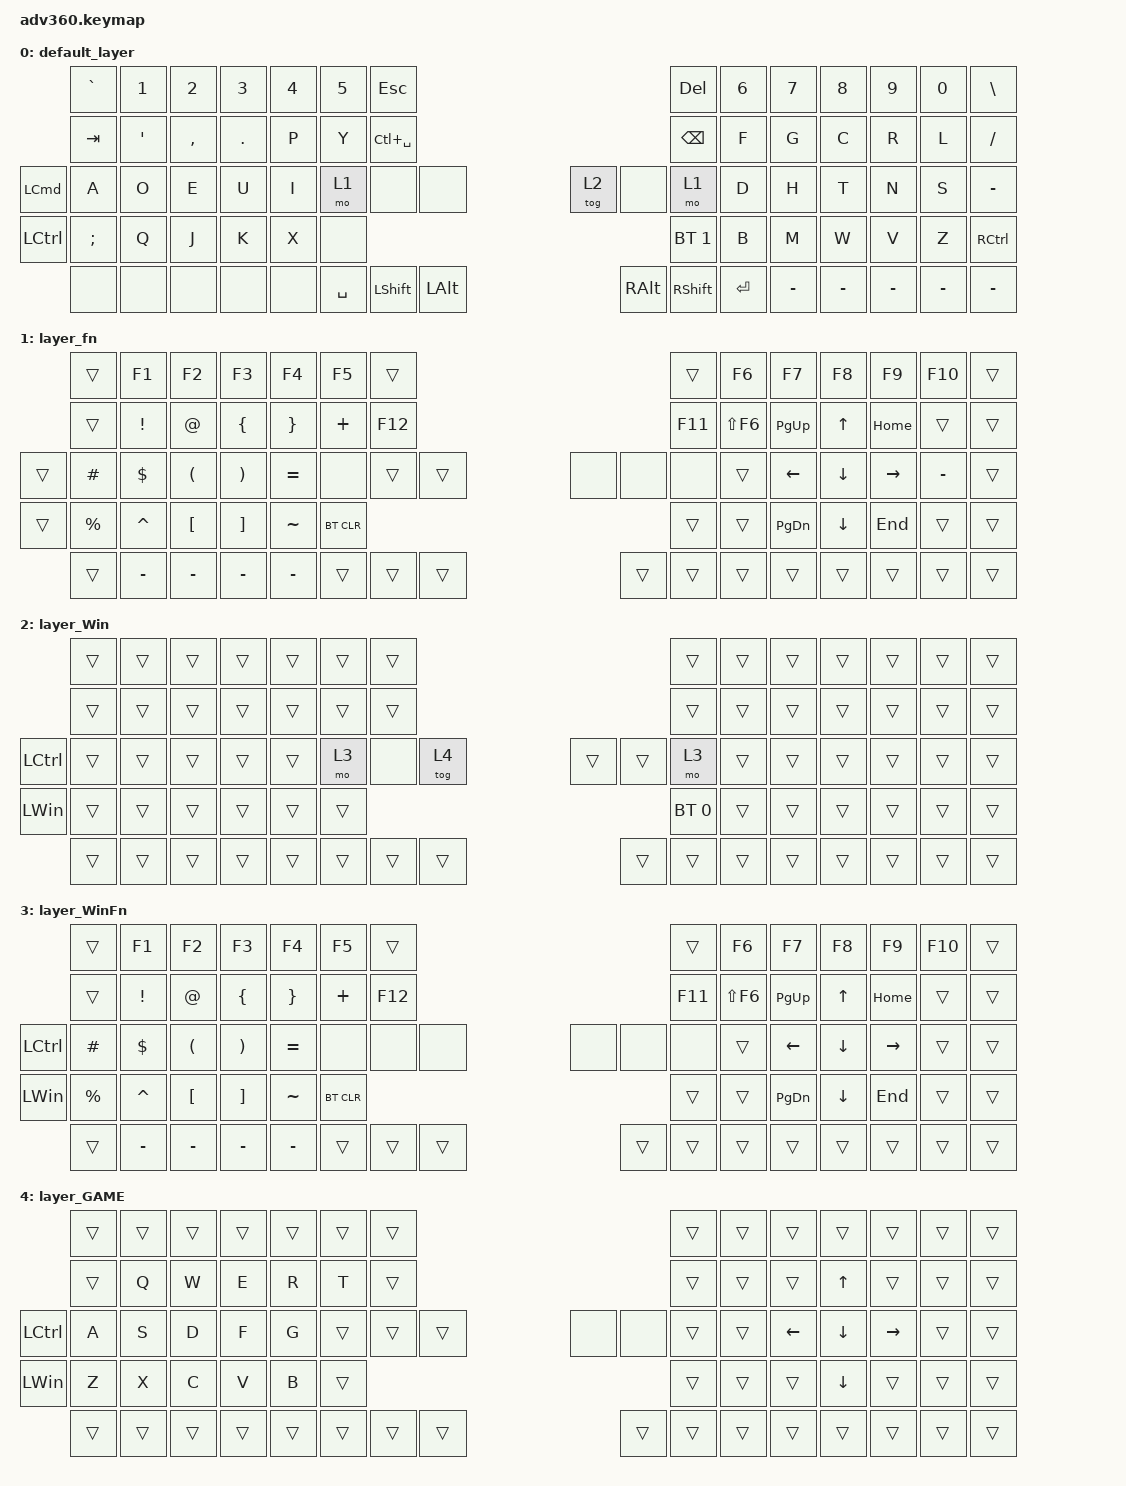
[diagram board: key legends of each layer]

/*
 * Copyright (c) 2020 The ZMK Contributors
 *
 * SPDX-License-Identifier: MIT
 */


/* THIS FILE WAS GENERATED!
 *
 * This file was generated automatically. You may or may not want to
 * edit it directly.
 */

#include <behaviors.dtsi>
#include <dt-bindings/zmk/keys.h>
#include <dt-bindings/zmk/bt.h>

/ {
  behaviors {
    #include "macros.dtsi"
    #include "version.dtsi"

    hm: homerow_mods {
        compatible = "zmk,behavior-hold-tap";
        label = "HOMEROW_MODS";
        #binding-cells = <2>;
        tapping-term-ms = <200>;
        quick_tap_ms = <175>;
        flavor = "tap-preferred";
        bindings = <&kp>, <&kp>;
    };
  };

    keymap {
        compatible = "zmk,keymap";


        default_layer {
            bindings = <
        &kp GRAVE            &kp N1     &kp N2   &kp N3  &kp N4  &kp N5                  &kp ESC                                                                                  &kp DEL  &kp N6     &kp N7     &kp N8     &kp N9     &kp N0  &kp BACKSLASH
          &kp TAB  &kp SINGLE_QUOTE  &kp COMMA  &kp DOT   &kp P   &kp Y            &kp LC(SPACE)                                                                                 &kp BSPC   &kp F      &kp G      &kp C      &kp R      &kp L      &kp SLASH
 &kp LEFT_COMMAND             &kp A      &kp O    &kp E   &kp U   &kp I                    &mo 1           &none         &none                         &tog 2            &none      &mo 1   &kp D      &kp H      &kp T      &kp N      &kp S      &kp MINUS
        &kp LCTRL     &kp SEMICOLON      &kp Q    &kp J   &kp K   &kp X                                                  &none                   &bt BT_SEL 1                               &kp B      &kp M      &kp W      &kp V      &kp Z      &kp RCTRL
            &none             &none      &none    &none   &none                        &kp SPACE  &kp LEFT_SHIFT  &kp LEFT_ALT                  &kp RIGHT_ALT  &kp RIGHT_SHIFT  &kp ENTER          &kp MINUS  &kp MINUS  &kp MINUS  &kp MINUS      &kp MINUS
            >;
        };

        layer_fn {
            bindings = <
 &trans           &kp F1       &kp F2                &kp F3                 &kp F4     &kp F5             &trans                                                       &trans      &kp F6         &kp F7    &kp F8     &kp F9    &kp F10  &trans
 &trans  &kp EXCLAMATION  &kp AT_SIGN        &kp LEFT_BRACE        &kp RIGHT_BRACE   &kp PLUS            &kp F12                                                      &kp F11  &kp LS(F6)    &kp PAGE_UP    &kp UP   &kp HOME     &trans  &trans
 &trans         &kp HASH   &kp DOLLAR  &kp LEFT_PARENTHESIS  &kp RIGHT_PARENTHESIS  &kp EQUAL              &none  &trans      &trans                   &none   &none    &none      &trans       &kp LEFT  &kp DOWN  &kp RIGHT  &kp MINUS  &trans
 &trans      &kp PERCENT    &kp CARET      &kp LEFT_BRACKET      &kp RIGHT_BRACKET  &kp TILDE                             &bt BT_CLR                  &trans                       &trans  &kp PAGE_DOWN  &kp DOWN    &kp END     &trans  &trans
 &trans        &kp MINUS    &kp MINUS             &kp MINUS              &kp MINUS                        &trans  &trans      &trans                  &trans  &trans   &trans                     &trans    &trans     &trans     &trans  &trans
            >;
        };

        layer_Win {
            bindings = <
           &trans  &trans  &trans  &trans  &trans  &trans            &trans                                                        &trans  &trans  &trans  &trans  &trans  &trans  &trans
           &trans  &trans  &trans  &trans  &trans  &trans            &trans                                                        &trans  &trans  &trans  &trans  &trans  &trans  &trans
 &kp LEFT_CONTROL  &trans  &trans  &trans  &trans  &trans             &mo 3   &none  &tog 4                        &trans  &trans   &mo 3  &trans  &trans  &trans  &trans  &trans  &trans
     &kp LEFT_WIN  &trans  &trans  &trans  &trans  &trans                            &trans                  &bt BT_SEL 0                  &trans  &trans  &trans  &trans  &trans  &trans
           &trans  &trans  &trans  &trans  &trans                    &trans  &trans  &trans                        &trans  &trans  &trans          &trans  &trans  &trans  &trans  &trans
            >;
        };

        layer_WinFn {
            bindings = <
           &trans           &kp F1       &kp F2                &kp F3                 &kp F4     &kp F5             &trans                                                       &trans      &kp F6         &kp F7    &kp F8     &kp F9  &kp F10  &trans
           &trans  &kp EXCLAMATION  &kp AT_SIGN        &kp LEFT_BRACE        &kp RIGHT_BRACE   &kp PLUS            &kp F12                                                      &kp F11  &kp LS(F6)    &kp PAGE_UP    &kp UP   &kp HOME   &trans  &trans
 &kp LEFT_CONTROL         &kp HASH   &kp DOLLAR  &kp LEFT_PARENTHESIS  &kp RIGHT_PARENTHESIS  &kp EQUAL              &none   &none       &none                   &none   &none    &none      &trans       &kp LEFT  &kp DOWN  &kp RIGHT   &trans  &trans
     &kp LEFT_WIN      &kp PERCENT    &kp CARET      &kp LEFT_BRACKET      &kp RIGHT_BRACKET  &kp TILDE                             &bt BT_CLR                  &trans                       &trans  &kp PAGE_DOWN  &kp DOWN    &kp END   &trans  &trans
           &trans        &kp MINUS    &kp MINUS             &kp MINUS              &kp MINUS                        &trans  &trans      &trans                  &trans  &trans   &trans                     &trans    &trans     &trans   &trans  &trans
            >;
        };

        layer_GAME {
            bindings = <
           &trans  &trans  &trans  &trans  &trans  &trans            &trans                                                  &trans  &trans    &trans    &trans     &trans  &trans  &trans
           &trans   &kp Q   &kp W   &kp E   &kp R   &kp T            &trans                                                  &trans  &trans    &trans    &kp UP     &trans  &trans  &trans
 &kp LEFT_CONTROL   &kp A   &kp S   &kp D   &kp F   &kp G            &trans  &trans  &trans                   &none   &none  &trans  &trans  &kp LEFT  &kp DOWN  &kp RIGHT  &trans  &trans
     &kp LEFT_WIN   &kp Z   &kp X   &kp C   &kp V   &kp B                            &trans                  &trans                  &trans    &trans  &kp DOWN     &trans  &trans  &trans
           &trans  &trans  &trans  &trans  &trans                    &trans  &trans  &trans                  &trans  &trans  &trans            &trans    &trans     &trans  &trans  &trans
            >;
        };

    };
};
